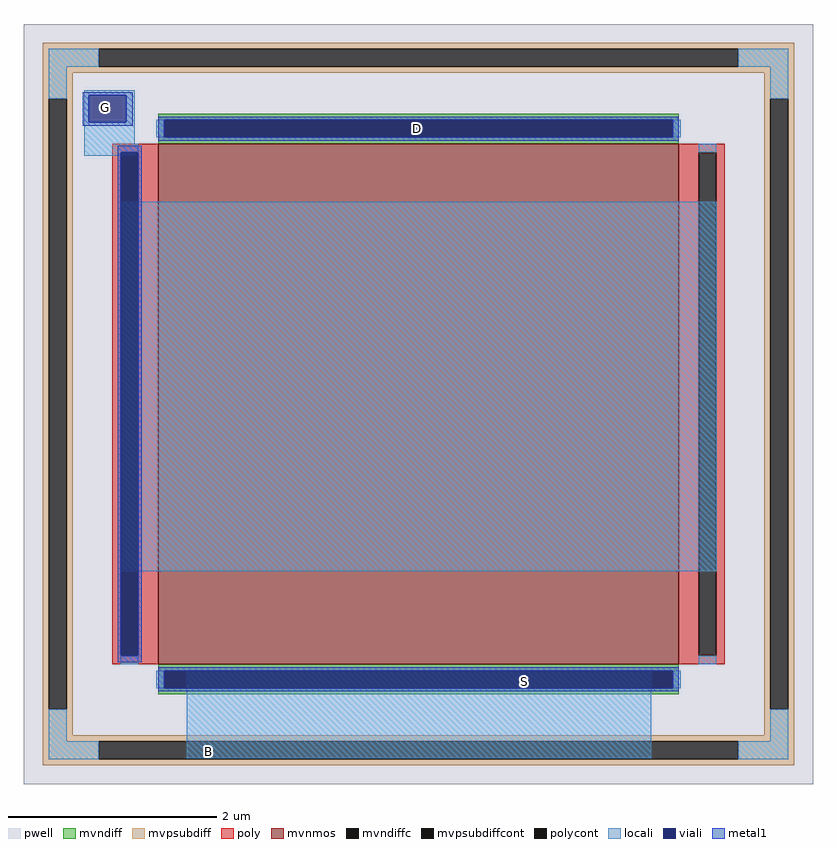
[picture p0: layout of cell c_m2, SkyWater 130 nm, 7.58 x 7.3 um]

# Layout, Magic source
magic
tech sky130A
magscale 1 2
<< locali >>
rect 51 1258 148 1268
rect 51 1206 60 1258
rect 132 1206 148 1258
rect 51 1142 148 1206
rect 122 344 1266 1054
rect 248 -16 1140 152
<< viali >>
rect 60 1206 132 1258
<< metal1 >>
rect 48 1258 144 1264
rect 48 1206 60 1258
rect 132 1206 144 1258
rect 48 1200 144 1206
use sky130_fd_pr__nfet_g5v0d10v5_Y3KDPX  sky130_fd_pr__nfet_g5v0d10v5_Y3KDPX_0
transform 0 1 693 -1 0 665
box -730 -758 730 758
<< labels >>
flabel space 692 1194 692 1194 0 FreeSans 800 0 0 0 D
port 0 nsew
flabel viali 92 1234 92 1234 0 FreeSans 800 0 0 0 G
port 1 nsew
flabel locali 896 132 896 132 0 FreeSans 800 0 0 0 S
port 2 nsew
flabel locali 290 -2 290 -2 0 FreeSans 800 0 0 0 B
port 3 nsew
<< end >>

# cell sky130_fd_pr__nfet_g5v0d10v5_Y3KDPX: kit device sky130_fd_pr__nfet_g5v0d10v5, w 5 l 5 m 1 nf 1 diffcov 100 polycov 100 guard 1 glc 1 grc 1 gtc 1 gbc 1 tbcov 100 rlcov 100 topc 1 botc 1 poverlap 0 doverlap 1 lmin 0.50 wmin 0.42 class mosfet compatible {sky130_fd_pr__nfet_01v8 sky130_fd_pr__nfet_01v8_lvt sky130_fd_bs_flash__special_sonosfet_star sky130_fd_pr__nfet_g5v0d10v5 sky130_fd_pr__nfet_05v0_nvt sky130_fd_pr__nfet_03v3_nvt} full_metal 1 conn_gates 0 viasrc 100 viadrn 100 viagate 100 viagb 0 viagr 0 viagl 0 viagt 0 doports 1
